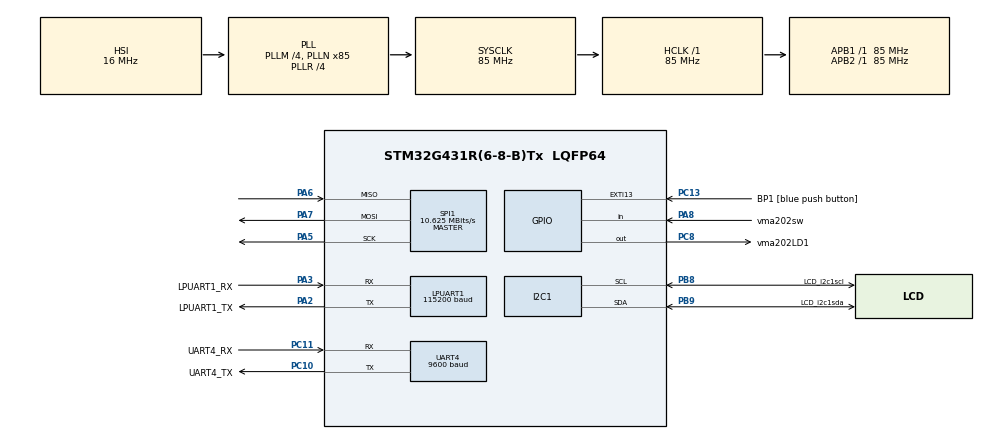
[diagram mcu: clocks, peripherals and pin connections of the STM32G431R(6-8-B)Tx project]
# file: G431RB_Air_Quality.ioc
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FATFS.DISKIO_CODE=0
FATFS._MAX_SS=4096
FATFS._USE_LFN=1
I2C1.Timing=0x10A0A6FB
LPUART1.BaudRate=115200
LPUART1.WordLength=UART_WORDLENGTH_8B
Mcu.Family=STM32G4
Mcu.Name=STM32G431R(6-8-B)Tx
Mcu.Package=LQFP64
Mcu.UserConstants=yCubeMX,"3-5"
NVIC.EXTI15_10_IRQn=true\:0\:0\:false\:false\:true\:true\:true\:true
NVIC.LPUART1_IRQn=true\:0\:0\:false\:false\:true\:true\:true\:true
NVIC.PriorityGroup=NVIC_PRIORITYGROUP_4
NVIC.TIM1_BRK_TIM15_IRQn=true\:0\:0\:false\:false\:true\:true\:true\:true
NVIC.TIM1_UP_TIM16_IRQn=true\:0\:0\:false\:false\:true\:true\:true\:true
NVIC.UART4_IRQn=true\:0\:0\:false\:false\:true\:true\:true\:true
PA13.GPIO_Label=T_SWDIO
PA13.Mode=Serial_Wire
PA13.Signal=SYS_JTMS-SWDIO
PA14.GPIO_Label=T_SWCLK
PA14.Mode=Serial_Wire
PA14.Signal=SYS_JTCK-SWCLK
PA2.GPIO_Label=LPUART1_TX
PA2.Mode=Asynchronous
PA2.Signal=LPUART1_TX
PA3.GPIO_Label=LPUART1_RX
PA3.Mode=Asynchronous
PA3.Signal=LPUART1_RX
PA5.Mode=Full_Duplex_Master
PA5.Signal=SPI1_SCK
PA6.Mode=Full_Duplex_Master
PA6.Signal=SPI1_MISO
PA7.Mode=Full_Duplex_Master
PA7.Signal=SPI1_MOSI
PA8.GPIO_Label=vma202sw
PA8.Signal=GPIO_Input
PB3.GPIO_Label=T_SWO
PB3.Signal=SYS_JTDO-SWO
PB8-BOOT0.GPIO_Label=LCD_i2c1scl
PB8-BOOT0.Mode=I2C
PB8-BOOT0.Signal=I2C1_SCL
PB9.GPIO_Label=LCD_i2c1sda
PB9.Mode=I2C
PB9.Signal=I2C1_SDA
PC10.GPIO_Label=UART4_TX
PC10.Mode=Asynchronous
PC10.Signal=UART4_TX
PC11.GPIO_Label=UART4_RX
PC11.Mode=Asynchronous
PC11.Signal=UART4_RX
PC13.GPIO_Label=BP1 [blue push button]
PC13.Signal=GPXTI13
PC8.GPIO_Label=vma202LD1
PC8.Signal=GPIO_Output
ProjectManager.HeapSize=0x200
ProjectManager.StackSize=0x400
ProjectManager.TargetToolchain=STM32CubeIDE
RCC.ADC12Freq_Value=85000000
RCC.AHBFreq_Value=85000000
RCC.APB1Freq_Value=85000000
RCC.APB1TimFreq_Value=85000000
RCC.APB2Freq_Value=85000000
RCC.APB2TimFreq_Value=85000000
RCC.CortexFreq_Value=85000000
RCC.EXTERNAL_CLOCK_VALUE=12288000
RCC.HCLKFreq_Value=85000000
RCC.HSE_VALUE=24000000
RCC.HSI48_VALUE=48000000
RCC.HSI_VALUE=16000000
RCC.LSE_VALUE=32768
RCC.PLLM=RCC_PLLM_DIV4
RCC.PLLN=85
RCC.PLLR=RCC_PLLR_DIV4
RCC.SYSCLKFreq_VALUE=85000000
RCC.SYSCLKSource=RCC_SYSCLKSOURCE_PLLCLK
RCC.USBFreq_Value=170000000
RCC.VCOOutputFreq_Value=340000000
SPI1.BaudRatePrescaler=SPI_BAUDRATEPRESCALER_8
SPI1.CalculateBaudRate=10.625 MBits/s
SPI1.DataSize=SPI_DATASIZE_8BIT
SPI1.Direction=SPI_DIRECTION_2LINES
SPI1.Mode=SPI_MODE_MASTER
SPI1.NSSPMode=SPI_NSS_PULSE_ENABLE
SPI1.VirtualType=VM_MASTER
TIM1.AutoReloadPreload=TIM_AUTORELOAD_PRELOAD_ENABLE
TIM1.PeriodNoDither=25000-1
TIM1.Prescaler=17000-1
TIM1.RepetitionCounter=0
TIM1.TIM_MasterSlaveMode=TIM_MASTERSLAVEMODE_DISABLE
UART4.BaudRate=9600
UART4.FIFOMode=FIFOMODE_DISABLE
UART4.RXFIFOThreshold=RXFIFO_THRESHOLD_HALFFULL
UART4.TXFIFOThreshold=TXFIFO_THRESHOLD_HALFFULL
VP_FATFS_VS_Generic.Mode=User_defined
VP_RTC_VS_RTC_Activate.Mode=RTC_Enabled
VP_SYS_VS_DBSignals.Mode=DisableDeadBatterySignals
VP_TIM1_VS_ClockSourceINT.Mode=Internal
board=NUCLEO-G431RB

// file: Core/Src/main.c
/* USER CODE BEGIN Header */
/**
 ******************************************************************************
 * @file           : main.c
 * @brief          : Main program body
 ******************************************************************************
 * @attention
 *
 * <h2><center>&copy; Copyright (c) 2022 STMicroelectronics.
 * All rights reserved.</center></h2>
 *
 * This software component is licensed by ST under BSD 3-Clause license,
 * the "License"; You may not use this file except in compliance with the
 * License. You may obtain a copy of the License at:
 *                        opensource.org/licenses/BSD-3-Clause
 *
 ******************************************************************************
 */
/* USER CODE END Header */
#include "main.h"
#include "app_fatfs.h"
#include "i2c.h"
#include "usart.h"
#include "rtc.h"
#include "spi.h"
#include "tim.h"
#include "gpio.h"

/* USER CODE BEGIN Includes */
#include "VT100.h"
#include <stdio.h>
#include <string.h>
#include "Air_Quality.h"
#include "yI2CprogsLCD.h"
#include "yI2CprogsRTC.h"
#include "ySPIprogsSD.h"

//Quelle est la cible?
//with '-fno-diagnostics-show-caret'
#define __STR2__(x) #x
#define __STR1__(x) __STR2__(x)

#if defined(yPROG)
#if defined(STM32F401xE)
#pragma message("***************************")
#pragma message("Compiling for NUCLEO_F401RE")
//add specific instruction
//----- end F401RE -----
#elif defined(STM32G431xx)
#pragma message("***************************")
#pragma message("Compiling for NUCLEO_G431RB")
//add specific instruction
//----- end G431RB ------
#elif defined(STM32L476xx)
#pragma message("***************************")
#pragma message("Compiling for NUCLEO_L476RG")
//add specific instruction
//----- end L476RG -----
#else
#pragma message("++++++ Unknown TARGET +++++")
#endif  //sur type board
#pragma message("---------------------------")
#pragma message("le " __STR1__(__DATE__) " " __STR1__(__TIME__))
#pragma message("prog. " __STR1__(yPROG))
#pragma message("version " __STR1__(yVER))
#pragma message("CubeMX  " __STR1__(yCubeMX))
#pragma message("***************************\n")
#else
#pragma message ("+++ Unknown program +++")
#endif  //sur yPROG
/* USER CODE END Includes */

/* USER CODE BEGIN PV */
//Console interface (et debug print)
uint8_t aRxBuffer[3];		//lpuart1 debug buffer de reception
char aTxBuffer[1024];		//lpuart1 debug buffer d'emission
uint16_t uart2NbCar = 1;	//nb de byte attendu
uint8_t yCarRecu;			//caractere recu (echange entre ISR uart et main)
int yret = 9;				//code return
char tmpBuffer[10];		    //buffer temporaire pour switch/case
char bufferRTC[64];		//buffer pour lecture clock
char spiBuffer[1024];				//buffer pour ecriture sur SD card
extern char USERPath[4];   /* USER logical drive path */
_Bool yFlagRepeatVT = false;			//flag lecture repetitive
_Bool yFlagRepeatLCD = false;			//flag lecture repetitive

/* USER CODE END PV */

void SystemClock_Config(void);
/* USER CODE BEGIN PFP */
extern void Interrputs_Init(void);

/* USER CODE END PFP */

/* USER CODE BEGIN 0 */
/*
 * General Welcome and signing display
 */
void DisplayWelcome(void) {
	snprintf(aTxBuffer, 1024, clrscr homescr
			"\nBonjour maitre!"
			"\n(c)Jean92, " yDATE
			"\n" yPROG " " yVER " (" yCubeMX ")"
			"\nCompil: " __TIME__ " le " __DATE__
			"\nSTmicro NUCLEO_G431RB"
			"\n" DECSC);
	if (HAL_UART_Transmit(&hlpuart1,(uint8_t *) aTxBuffer, strlen(aTxBuffer), 5000) != HAL_OK) {
		Error_Handler();
	}
}
/* USER CODE END 0 */

int main(void)
{
  /* USER CODE BEGIN 1 */
	yCarRecu = '*';
  /* USER CODE END 1 */

  /* MCU Configuration--------------------------------------------------------*/

  /* Reset of all peripherals, Initializes the Flash interface and the Systick. */
  HAL_Init();

  /* Configure the system clock */
  SystemClock_Config();

  /* Initialize all configured peripherals */
  MX_GPIO_Init();
  MX_TIM1_Init();
  MX_LPUART1_UART_Init();
  MX_UART4_Init();
  MX_I2C1_Init();
  MX_SPI1_Init();
  if (MX_FATFS_Init() != APP_OK) {
    Error_Handler();
  }
  MX_RTC_Init();
  /* USER CODE BEGIN 2 */

	/* message de bienvenue */
	snprintf(aTxBuffer, 1024, "\n---- (re)Start prog ---\n");
	HAL_UART_Transmit(&hlpuart1,(uint8_t *) aTxBuffer, strlen(aTxBuffer), 5000);

	//--- test led Led on Nucleo
	for (int ii = 0; ii < 30; ++ii) {
		HAL_GPIO_WritePin(vma202LD1_GPIO_Port, vma202LD1_Pin, GPIO_PIN_SET);
		HAL_Delay(30);
		HAL_GPIO_WritePin(vma202LD1_GPIO_Port, vma202LD1_Pin, GPIO_PIN_RESET);
		HAL_Delay(30);
	}

	//--- display welcome & menu
	DisplayWelcome();
	yAirQualMenu();

	//--- initialize interrupts & start uart receive it
	uart2NbCar = 1;
	Interrputs_Init();

	//--- init LCD, msg de bienvenue
	yI2C_LCD_init();
	HAL_Delay(50);
	yI2C_LCD_locate(0,0); yI2C_LCD_Affich_Txt("* Air Quality *");
	yI2C_LCD_locate(0,1); yI2C_LCD_Affich_Txt(yVER);
	yI2C_LCD_locate(7,1); yI2C_LCD_Affich_Txt(__TIME__);
	HAL_Delay(2000);

/*
	 mettre trace sur SD carte
	//avant de lancer les interrupt htim6
	//en utilisant des buffer non interrompu
	(void) yI2C_RTC_GetRegisters((char*)tmpBuffer, 0, 7);	//passer le buffer (via pointeur) et le nb d'�l�ments
	snprintf(aTxBuffer, 1024, "*** 20%02d-%02d-%02d %02d:%02d:%02d ***\tReboot Nucleo Card with " yPROG  yVER " ("__STR1__(yCubeMX)")\n",
		  bcdToDecimal(tmpBuffer[6]), bcdToDecimal(tmpBuffer[5]), bcdToDecimal(tmpBuffer[4]),
		  bcdToDecimal(tmpBuffer[2]), bcdToDecimal(tmpBuffer[1]), bcdToDecimal(tmpBuffer[0]));
	(void) ySPI_SD_Write(SDfileBoot, (TCHAR*)aTxBuffer);		// 'SDfileBoot' -> 'Nucleo.txt'
*/

	//--- petit delai final
	HAL_Delay(500);

  /* USER CODE END 2 */

  /* Infinite loop */
  /* USER CODE BEGIN WHILE */
	while (1)
	{
		/* check command received (see Air_Quality_Spec.txt) */
		if (yCarRecu != '*') {
			switch (yCarRecu) {
			case '0': case '1': case '2': case '3':
			case '4': case '5': case '6':
				snprintf(aTxBuffer, 1024, "%c", yCarRecu);
				HAL_UART_Transmit(&huart4,(uint8_t *) aTxBuffer, strlen(aTxBuffer), 5000);
				break;
			case 'a': case 'A':
				snprintf(aTxBuffer, 1024, "%c", yCarRecu);
				HAL_UART_Transmit(&huart4,(uint8_t *) aTxBuffer, strlen(aTxBuffer), 5000);
				break;
			case 'b': case 'B':
				snprintf(aTxBuffer, 1024, "%c", yCarRecu);
				HAL_UART_Transmit(&huart4,(uint8_t *) aTxBuffer, strlen(aTxBuffer), 5000);
				break;
			case 'c': case 'C':
				snprintf(aTxBuffer, 1024, "%c", yCarRecu);
				HAL_UART_Transmit(&huart4,(uint8_t *) aTxBuffer, strlen(aTxBuffer), 5000);
				break;
			case 'd': case 'D':		//-- re afficher le menu
				DisplayWelcome();
				yAirQualMenu();
				break;

			case 'I': case 'i':	//Test if I2C slave is ready
				snprintf(aTxBuffer, 1024, "\tTest I2C LCD: @ %#X status %#x\r\n", LCD_add, yI2Ctest(LCD_add));
				HAL_UART_Transmit(&hlpuart1,(uint8_t *) aTxBuffer, strlen(aTxBuffer), 5000);

				HAL_Delay(1000);
				snprintf(aTxBuffer, 1024, "\tTest I2C RBG: @ %#X status %#x\r\n", RGB_add, yI2Ctest(RGB_add));
				HAL_UART_Transmit(&hlpuart1,(uint8_t *) aTxBuffer, strlen(aTxBuffer), 5000);

				HAL_Delay(1000);
				snprintf(aTxBuffer, 1024, "\tTest I2C RTC: @ %#X status %#x\r\n", RTC_add, yI2Ctest(RTC_add));
				HAL_UART_Transmit(&hlpuart1,(uint8_t *) aTxBuffer, strlen(aTxBuffer), 5000);
				break;

			case 'J':	//lire carte SD 'SDfileTrace' -> 'AQK.txt'
				snprintf(aTxBuffer, 1024, "\t*J* lire carte SD 'SDfileTrace': %d\r\n", yret);
				HAL_UART_Transmit(&hlpuart1,(uint8_t *) aTxBuffer, strlen(aTxBuffer), 5000);
				yret = ySPI_SD_Read(SDfileTrace);
				snprintf(aTxBuffer, 50, "\tTemps lecture carte SD: %d ms\n", yret);
				HAL_UART_Transmit(&hlpuart1,(uint8_t *) aTxBuffer, strlen(aTxBuffer), 5000);
				break;

			case 'K':	//ecrire sur  carte SD
				//!! long, donc attention aux interruptions !!//		    start = HAL_GetTick(); 	// Lancement de la mesure du temps
				//recuperer date et heure
			    yret = yI2C_RTC_GetRegisters((char*)bufferRTC, 0, 7);	//passer le buffer (via pointeur) et le nb d'�l�ments
			    if (yret == 1) {
					snprintf(aTxBuffer, 50, "\t*K* ecrire carte SD: %d\r\n", yret);
					HAL_UART_Transmit(&hlpuart1,(uint8_t *) aTxBuffer, strlen(aTxBuffer), 5000);
			    	//decoder les 7 mots BCD
			    	snprintf(spiBuffer, 1024, "il est 20%02d-%02d-%02d %02d:%02d:%02d\t%s",
			    			bcdToDecimal(bufferRTC[6]), bcdToDecimal(bufferRTC[5]), bcdToDecimal(bufferRTC[4]),
							bcdToDecimal(bufferRTC[2]), bcdToDecimal(bufferRTC[1]), bcdToDecimal(bufferRTC[0]),
							"\ttoto is back! ecriture sur 'SDfileTrace' (trace.txt)\n");
							//"\ttoto is back! with specific buffer\n");
				    yret = ySPI_SD_Write(SDfileTrace, (TCHAR*)spiBuffer);
			    }
				snprintf(aTxBuffer, 50, "\tTemps ecriture carte SD: %d ms\n", yret);
				HAL_UART_Transmit(&hlpuart1,(uint8_t *) aTxBuffer, strlen(aTxBuffer), 5000);
				break;

			case 'L':	//lire carte SD 'SDfileBoot' -> 'Nucleo.txt'
				snprintf(aTxBuffer, 1024, "\t*J* lire carte SD 'SDfileBoot': %d\r\n", yret);
				HAL_UART_Transmit(&hlpuart1,(uint8_t *) aTxBuffer, strlen(aTxBuffer), 5000);
				yret = ySPI_SD_Read(SDfileBoot);
				snprintf(aTxBuffer, 50, "\tTemps lecture carte SD: %d ms\n", yret);
				HAL_UART_Transmit(&hlpuart1,(uint8_t *) aTxBuffer, strlen(aTxBuffer), 5000);
				break;

			case 'O': case 'o':	//(re)init SPI, re int FATFS
				snprintf(aTxBuffer, 1024, "\t*Init SPI*\r\n");
				HAL_UART_Transmit(&hlpuart1,(uint8_t *) aTxBuffer, strlen(aTxBuffer), 5000);
				FATFS_UnLinkDriver(USERPath); HAL_Delay(50);
				MX_FATFS_Init();
				break;

			case 'l': // minuscule
				snprintf(aTxBuffer, 1024, "\tLecture continue ('l' pour arreter)" ERASELINE DECRC);
				HAL_UART_Transmit(&hlpuart1,(uint8_t *) aTxBuffer, strlen(aTxBuffer), 5000);
				yFlagRepeatLCD = !yFlagRepeatLCD;
				break;
			case 'm': case 'M':
				snprintf(aTxBuffer, 1024, "%c", yCarRecu);
				HAL_UART_Transmit(&huart4,(uint8_t *) aTxBuffer, strlen(aTxBuffer), 5000);
				break;
			case 'q': case 'Q':
				snprintf(aTxBuffer, 1024, "%c", yCarRecu);
				HAL_UART_Transmit(&huart4,(uint8_t *) aTxBuffer, strlen(aTxBuffer), 5000);
				break;
			case 'r': case 'R':		//-- lecture repetitive de T et eCO2
				snprintf(aTxBuffer, 1024, "\tLecture continue ('r' pour arreter)" ERASELINE DECRC);
				HAL_UART_Transmit(&hlpuart1,(uint8_t *) aTxBuffer, strlen(aTxBuffer), 5000);
				yFlagRepeatVT = !yFlagRepeatVT;
				break;
			case 's': case 'S':		//-- shutdown
				//todo cmd Shutbown
				snprintf(aTxBuffer, 1024, "\tin progress" ERASELINE DECRC);
				HAL_UART_Transmit(&hlpuart1,(uint8_t *) aTxBuffer, strlen(aTxBuffer), 5000);
				break;
			case 't': case 'T':
				snprintf(aTxBuffer, 1024, "%c", yCarRecu);
				HAL_UART_Transmit(&huart4,(uint8_t *) aTxBuffer, strlen(aTxBuffer), 5000);
				break;

/*
			case 'W': case 'w':	//Ww, 87, 119
				 passage en mode 2 touches
				// x ? y : z // y if x is true (nonzero), else z
				uart2NbCar = 2;
				snprintf(aTxBuffer, 1024, "\tuart2NbCar %d\r\n", uart2NbCar);
				HAL_UART_Transmit(&huart4,(uint8_t *) aTxBuffer, strlen(aTxBuffer), 5000);
				//return;		//sortir du s/prog!!
				break;
*/

			default:
				snprintf(aTxBuffer, 1024, "\tcommande erronee" ERASELINE "\n" ERASELINE DECRC);
				HAL_UART_Transmit(&hlpuart1,(uint8_t *) aTxBuffer, strlen(aTxBuffer), 5000);
				break;
			}
			yCarRecu = '*';
			//HAL_UART_Transmit(&hlpuart1,(uint8_t *) aTxBuffer, strlen(aTxBuffer), 5000);	//echo console
		}

		/* lecture repetitve demandee? */
		if (yFlagTIM1 == 1) {
			if (yFlagRepeatVT) {
				yAirQualRepeatVT();
			}
			if (yFlagRepeatLCD || HAL_GPIO_ReadPin(vma202sw_GPIO_Port, vma202sw_Pin) == 1) {
				yAirQualRepeatLCD();
			}
			yFlagTIM1 = 0; 	//reset
		}

		/* check vma202 switch */
		// display on LCD (at end of 2nd line)
		//snprintf(aTxBuffer, 4, "sw%d",HAL_GPIO_ReadPin(vma202SW_GPIO_Port, vma202SW_Pin));
		//yI2C_LCD_locate(13,1); yI2C_LCD_Affich_Txt(aTxBuffer);

		HAL_Delay(200);

    /* USER CODE END WHILE */

	}
}

void SystemClock_Config(void)
{
  RCC_OscInitTypeDef RCC_OscInitStruct = {0};
  RCC_ClkInitTypeDef RCC_ClkInitStruct = {0};

  /** Configure the main internal regulator output voltage
  */
  HAL_PWREx_ControlVoltageScaling(PWR_REGULATOR_VOLTAGE_SCALE1);

  /** Initializes the RCC Oscillators according to the specified parameters
  * in the RCC_OscInitTypeDef structure.
  */
  RCC_OscInitStruct.OscillatorType = RCC_OSCILLATORTYPE_HSI|RCC_OSCILLATORTYPE_LSI;
  RCC_OscInitStruct.HSIState = RCC_HSI_ON;
  RCC_OscInitStruct.HSICalibrationValue = RCC_HSICALIBRATION_DEFAULT;
  RCC_OscInitStruct.LSIState = RCC_LSI_ON;
  RCC_OscInitStruct.PLL.PLLState = RCC_PLL_ON;
  RCC_OscInitStruct.PLL.PLLSource = RCC_PLLSOURCE_HSI;
  RCC_OscInitStruct.PLL.PLLM = RCC_PLLM_DIV4;
  RCC_OscInitStruct.PLL.PLLN = 85;
  RCC_OscInitStruct.PLL.PLLP = RCC_PLLP_DIV2;
  RCC_OscInitStruct.PLL.PLLQ = RCC_PLLQ_DIV2;
  RCC_OscInitStruct.PLL.PLLR = RCC_PLLR_DIV4;
  if (HAL_RCC_OscConfig(&RCC_OscInitStruct) != HAL_OK)
  {
    Error_Handler();
  }

  /** Initializes the CPU, AHB and APB buses clocks
  */
  RCC_ClkInitStruct.ClockType = RCC_CLOCKTYPE_HCLK|RCC_CLOCKTYPE_SYSCLK
                              |RCC_CLOCKTYPE_PCLK1|RCC_CLOCKTYPE_PCLK2;
  RCC_ClkInitStruct.SYSCLKSource = RCC_SYSCLKSOURCE_PLLCLK;
  RCC_ClkInitStruct.AHBCLKDivider = RCC_SYSCLK_DIV1;
  RCC_ClkInitStruct.APB1CLKDivider = RCC_HCLK_DIV1;
  RCC_ClkInitStruct.APB2CLKDivider = RCC_HCLK_DIV1;

  if (HAL_RCC_ClockConfig(&RCC_ClkInitStruct, FLASH_LATENCY_2) != HAL_OK)
  {
    Error_Handler();
  }
}

void Error_Handler(void)
{
  /* USER CODE BEGIN Error_Handler_Debug */
	/* User can add his own implementation to report the HAL error return state */
	__disable_irq();
	while (1)
	{
		HAL_GPIO_WritePin(vma202LD1_GPIO_Port, vma202LD1_Pin, GPIO_PIN_SET);
	}
  /* USER CODE END Error_Handler_Debug */
}
